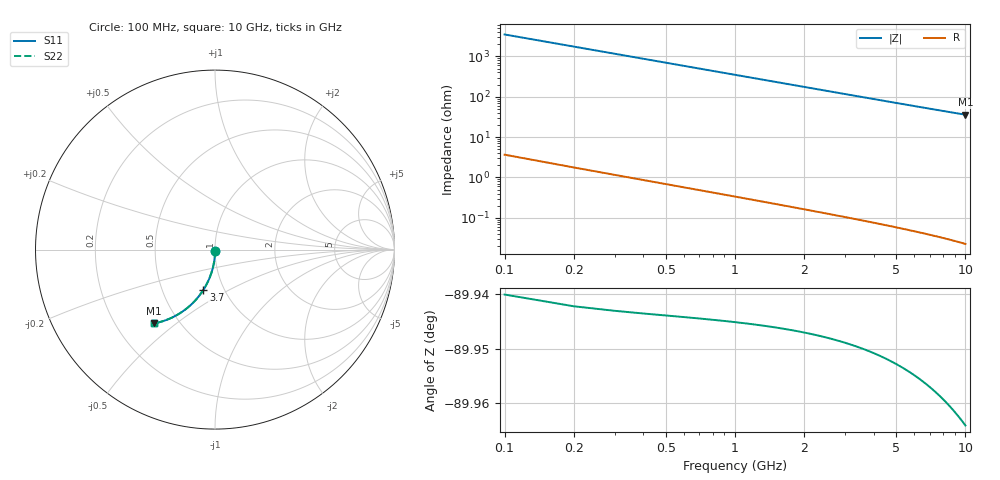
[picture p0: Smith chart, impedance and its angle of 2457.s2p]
# Hz S RI R 50.00
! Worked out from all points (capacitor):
!   100 points, 100 MHz to 10 GHz, reference 50 ohm
!   read as one part in shunt: C = 454 fF near 100 MHz
!   lowest |Z| = 36 ohm at 10 GHz (marker M1)
!   S11 on the Smith chart (normalised r, x): 100 MHz: 1.00, -0.01; 3.7 GHz: 0.80, -0.38; 10 GHz: 0.36, -0.42
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1e8  0.000513 -0.00651  0.9994 -0.00776  0.9994 -0.00776  0.000513 -0.00651
2e8  0.000359 -0.013  0.9992 -0.0155  0.9992 -0.0155  0.000359 -0.013
3e8  0.000102 -0.0195  0.9989 -0.0233  0.9989 -0.0233  0.000102 -0.0195
4e8  -0.000256 -0.026  0.9986 -0.031  0.9986 -0.031  -0.000256 -0.026
5e8  -0.000714 -0.0325  0.9981 -0.0388  0.9981 -0.0388  -0.000714 -0.0325
6e8  -0.00127 -0.039  0.9975 -0.0465  0.9975 -0.0465  -0.00127 -0.039
7e8  -0.00193 -0.0454  0.9969 -0.0542  0.9969 -0.0542  -0.00193 -0.0454
8e8  -0.00269 -0.0519  0.9961 -0.0619  0.9961 -0.0619  -0.00269 -0.0519
9e8  -0.00355 -0.0583  0.9952 -0.0696  0.9952 -0.0696  -0.00355 -0.0583
1.1e9  -0.00556 -0.0711  0.9932 -0.0849  0.9932 -0.0849  -0.00556 -0.0711
1.4e9  -0.00931 -0.0902  0.9893 -0.1077  0.9893 -0.1077  -0.00931 -0.0902
1.8e9  -0.0156 -0.1151  0.9829 -0.1377  0.9829 -0.1377  -0.0156 -0.1151
2.1e9  -0.0214 -0.1335  0.9771 -0.1598  0.9771 -0.1598  -0.0214 -0.1335
2.5e9  -0.0302 -0.1574  0.9681 -0.1887  0.9681 -0.1887  -0.0302 -0.1574
2.9e9  -0.0404 -0.1805  0.9577 -0.2168  0.9577 -0.2168  -0.0404 -0.1805
3.4e9  -0.055 -0.2082  0.9429 -0.2508  0.9429 -0.2508  -0.055 -0.2082
3.7e9  -0.0646 -0.2241  0.9331 -0.2705  0.9331 -0.2705  -0.0646 -0.2241
4.4e9  -0.0892 -0.2589  0.908 -0.3141  0.908 -0.3141  -0.0892 -0.2589
5.1e9  -0.1166 -0.2904  0.88 -0.3545  0.88 -0.3545  -0.1166 -0.2904
6.7e9  -0.1866 -0.3488  0.8086 -0.4332  0.8086 -0.4332  -0.1866 -0.3488
8.4e9  -0.2664 -0.3902  0.7266 -0.4964  0.7266 -0.4964  -0.2664 -0.3902
1e10  -0.3414 -0.4117  0.6491 -0.5386  0.6491 -0.5386  -0.3414 -0.4117
